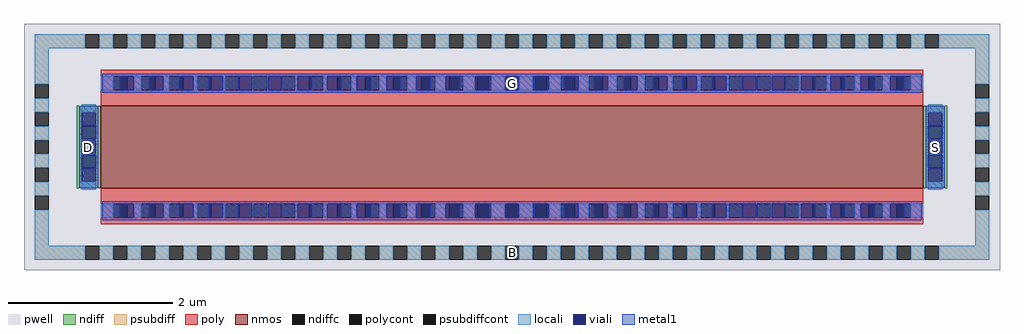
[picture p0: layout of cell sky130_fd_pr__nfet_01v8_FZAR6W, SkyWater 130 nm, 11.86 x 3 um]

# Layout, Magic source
magic
tech sky130A
magscale 1 2
<< pwell >>
rect -1186 -300 1186 300
<< nmos >>
rect -1000 -100 1000 100
<< ndiff >>
rect -1058 85 -1000 100
rect -1058 51 -1046 85
rect -1012 51 -1000 85
rect -1058 17 -1000 51
rect -1058 -17 -1046 17
rect -1012 -17 -1000 17
rect -1058 -51 -1000 -17
rect -1058 -85 -1046 -51
rect -1012 -85 -1000 -51
rect -1058 -100 -1000 -85
rect 1000 85 1058 100
rect 1000 51 1012 85
rect 1046 51 1058 85
rect 1000 17 1058 51
rect 1000 -17 1012 17
rect 1046 -17 1058 17
rect 1000 -51 1058 -17
rect 1000 -85 1012 -51
rect 1046 -85 1058 -51
rect 1000 -100 1058 -85
<< ndiffc >>
rect -1046 51 -1012 85
rect -1046 -17 -1012 17
rect -1046 -85 -1012 -51
rect 1012 51 1046 85
rect 1012 -17 1046 17
rect 1012 -85 1046 -51
<< psubdiff >>
rect -1160 240 -1037 274
rect -1003 240 -969 274
rect -935 240 -901 274
rect -867 240 -833 274
rect -799 240 -765 274
rect -731 240 -697 274
rect -663 240 -629 274
rect -595 240 -561 274
rect -527 240 -493 274
rect -459 240 -425 274
rect -391 240 -357 274
rect -323 240 -289 274
rect -255 240 -221 274
rect -187 240 -153 274
rect -119 240 -85 274
rect -51 240 -17 274
rect 17 240 51 274
rect 85 240 119 274
rect 153 240 187 274
rect 221 240 255 274
rect 289 240 323 274
rect 357 240 391 274
rect 425 240 459 274
rect 493 240 527 274
rect 561 240 595 274
rect 629 240 663 274
rect 697 240 731 274
rect 765 240 799 274
rect 833 240 867 274
rect 901 240 935 274
rect 969 240 1003 274
rect 1037 240 1160 274
rect -1160 153 -1126 240
rect -1160 85 -1126 119
rect 1126 153 1160 240
rect -1160 17 -1126 51
rect -1160 -51 -1126 -17
rect -1160 -119 -1126 -85
rect 1126 85 1160 119
rect 1126 17 1160 51
rect 1126 -51 1160 -17
rect -1160 -240 -1126 -153
rect 1126 -119 1160 -85
rect 1126 -240 1160 -153
rect -1160 -274 -1037 -240
rect -1003 -274 -969 -240
rect -935 -274 -901 -240
rect -867 -274 -833 -240
rect -799 -274 -765 -240
rect -731 -274 -697 -240
rect -663 -274 -629 -240
rect -595 -274 -561 -240
rect -527 -274 -493 -240
rect -459 -274 -425 -240
rect -391 -274 -357 -240
rect -323 -274 -289 -240
rect -255 -274 -221 -240
rect -187 -274 -153 -240
rect -119 -274 -85 -240
rect -51 -274 -17 -240
rect 17 -274 51 -240
rect 85 -274 119 -240
rect 153 -274 187 -240
rect 221 -274 255 -240
rect 289 -274 323 -240
rect 357 -274 391 -240
rect 425 -274 459 -240
rect 493 -274 527 -240
rect 561 -274 595 -240
rect 629 -274 663 -240
rect 697 -274 731 -240
rect 765 -274 799 -240
rect 833 -274 867 -240
rect 901 -274 935 -240
rect 969 -274 1003 -240
rect 1037 -274 1160 -240
<< psubdiffcont >>
rect -1037 240 -1003 274
rect -969 240 -935 274
rect -901 240 -867 274
rect -833 240 -799 274
rect -765 240 -731 274
rect -697 240 -663 274
rect -629 240 -595 274
rect -561 240 -527 274
rect -493 240 -459 274
rect -425 240 -391 274
rect -357 240 -323 274
rect -289 240 -255 274
rect -221 240 -187 274
rect -153 240 -119 274
rect -85 240 -51 274
rect -17 240 17 274
rect 51 240 85 274
rect 119 240 153 274
rect 187 240 221 274
rect 255 240 289 274
rect 323 240 357 274
rect 391 240 425 274
rect 459 240 493 274
rect 527 240 561 274
rect 595 240 629 274
rect 663 240 697 274
rect 731 240 765 274
rect 799 240 833 274
rect 867 240 901 274
rect 935 240 969 274
rect 1003 240 1037 274
rect -1160 119 -1126 153
rect 1126 119 1160 153
rect -1160 51 -1126 85
rect -1160 -17 -1126 17
rect -1160 -85 -1126 -51
rect 1126 51 1160 85
rect 1126 -17 1160 17
rect 1126 -85 1160 -51
rect -1160 -153 -1126 -119
rect 1126 -153 1160 -119
rect -1037 -274 -1003 -240
rect -969 -274 -935 -240
rect -901 -274 -867 -240
rect -833 -274 -799 -240
rect -765 -274 -731 -240
rect -697 -274 -663 -240
rect -629 -274 -595 -240
rect -561 -274 -527 -240
rect -493 -274 -459 -240
rect -425 -274 -391 -240
rect -357 -274 -323 -240
rect -289 -274 -255 -240
rect -221 -274 -187 -240
rect -153 -274 -119 -240
rect -85 -274 -51 -240
rect -17 -274 17 -240
rect 51 -274 85 -240
rect 119 -274 153 -240
rect 187 -274 221 -240
rect 255 -274 289 -240
rect 323 -274 357 -240
rect 391 -274 425 -240
rect 459 -274 493 -240
rect 527 -274 561 -240
rect 595 -274 629 -240
rect 663 -274 697 -240
rect 731 -274 765 -240
rect 799 -274 833 -240
rect 867 -274 901 -240
rect 935 -274 969 -240
rect 1003 -274 1037 -240
<< poly >>
rect -1000 172 1000 188
rect -1000 138 -969 172
rect -935 138 -901 172
rect -867 138 -833 172
rect -799 138 -765 172
rect -731 138 -697 172
rect -663 138 -629 172
rect -595 138 -561 172
rect -527 138 -493 172
rect -459 138 -425 172
rect -391 138 -357 172
rect -323 138 -289 172
rect -255 138 -221 172
rect -187 138 -153 172
rect -119 138 -85 172
rect -51 138 -17 172
rect 17 138 51 172
rect 85 138 119 172
rect 153 138 187 172
rect 221 138 255 172
rect 289 138 323 172
rect 357 138 391 172
rect 425 138 459 172
rect 493 138 527 172
rect 561 138 595 172
rect 629 138 663 172
rect 697 138 731 172
rect 765 138 799 172
rect 833 138 867 172
rect 901 138 935 172
rect 969 138 1000 172
rect -1000 100 1000 138
rect -1000 -138 1000 -100
rect -1000 -172 -969 -138
rect -935 -172 -901 -138
rect -867 -172 -833 -138
rect -799 -172 -765 -138
rect -731 -172 -697 -138
rect -663 -172 -629 -138
rect -595 -172 -561 -138
rect -527 -172 -493 -138
rect -459 -172 -425 -138
rect -391 -172 -357 -138
rect -323 -172 -289 -138
rect -255 -172 -221 -138
rect -187 -172 -153 -138
rect -119 -172 -85 -138
rect -51 -172 -17 -138
rect 17 -172 51 -138
rect 85 -172 119 -138
rect 153 -172 187 -138
rect 221 -172 255 -138
rect 289 -172 323 -138
rect 357 -172 391 -138
rect 425 -172 459 -138
rect 493 -172 527 -138
rect 561 -172 595 -138
rect 629 -172 663 -138
rect 697 -172 731 -138
rect 765 -172 799 -138
rect 833 -172 867 -138
rect 901 -172 935 -138
rect 969 -172 1000 -138
rect -1000 -188 1000 -172
<< polycont >>
rect -969 138 -935 172
rect -901 138 -867 172
rect -833 138 -799 172
rect -765 138 -731 172
rect -697 138 -663 172
rect -629 138 -595 172
rect -561 138 -527 172
rect -493 138 -459 172
rect -425 138 -391 172
rect -357 138 -323 172
rect -289 138 -255 172
rect -221 138 -187 172
rect -153 138 -119 172
rect -85 138 -51 172
rect -17 138 17 172
rect 51 138 85 172
rect 119 138 153 172
rect 187 138 221 172
rect 255 138 289 172
rect 323 138 357 172
rect 391 138 425 172
rect 459 138 493 172
rect 527 138 561 172
rect 595 138 629 172
rect 663 138 697 172
rect 731 138 765 172
rect 799 138 833 172
rect 867 138 901 172
rect 935 138 969 172
rect -969 -172 -935 -138
rect -901 -172 -867 -138
rect -833 -172 -799 -138
rect -765 -172 -731 -138
rect -697 -172 -663 -138
rect -629 -172 -595 -138
rect -561 -172 -527 -138
rect -493 -172 -459 -138
rect -425 -172 -391 -138
rect -357 -172 -323 -138
rect -289 -172 -255 -138
rect -221 -172 -187 -138
rect -153 -172 -119 -138
rect -85 -172 -51 -138
rect -17 -172 17 -138
rect 51 -172 85 -138
rect 119 -172 153 -138
rect 187 -172 221 -138
rect 255 -172 289 -138
rect 323 -172 357 -138
rect 391 -172 425 -138
rect 459 -172 493 -138
rect 527 -172 561 -138
rect 595 -172 629 -138
rect 663 -172 697 -138
rect 731 -172 765 -138
rect 799 -172 833 -138
rect 867 -172 901 -138
rect 935 -172 969 -138
<< locali >>
rect -1160 240 -1037 274
rect -1003 240 -969 274
rect -935 240 -901 274
rect -867 240 -833 274
rect -799 240 -765 274
rect -731 240 -697 274
rect -663 240 -629 274
rect -595 240 -561 274
rect -527 240 -493 274
rect -459 240 -425 274
rect -391 240 -357 274
rect -323 240 -289 274
rect -255 240 -221 274
rect -187 240 -153 274
rect -119 240 -85 274
rect -51 240 -17 274
rect 17 240 51 274
rect 85 240 119 274
rect 153 240 187 274
rect 221 240 255 274
rect 289 240 323 274
rect 357 240 391 274
rect 425 240 459 274
rect 493 240 527 274
rect 561 240 595 274
rect 629 240 663 274
rect 697 240 731 274
rect 765 240 799 274
rect 833 240 867 274
rect 901 240 935 274
rect 969 240 1003 274
rect 1037 240 1160 274
rect -1160 153 -1126 240
rect -1000 138 -969 172
rect -919 138 -901 172
rect -847 138 -833 172
rect -775 138 -765 172
rect -703 138 -697 172
rect -631 138 -629 172
rect -595 138 -593 172
rect -527 138 -521 172
rect -459 138 -449 172
rect -391 138 -377 172
rect -323 138 -305 172
rect -255 138 -233 172
rect -187 138 -161 172
rect -119 138 -89 172
rect -51 138 -17 172
rect 17 138 51 172
rect 89 138 119 172
rect 161 138 187 172
rect 233 138 255 172
rect 305 138 323 172
rect 377 138 391 172
rect 449 138 459 172
rect 521 138 527 172
rect 593 138 595 172
rect 629 138 631 172
rect 697 138 703 172
rect 765 138 775 172
rect 833 138 847 172
rect 901 138 919 172
rect 969 138 1000 172
rect 1126 153 1160 240
rect -1160 85 -1126 119
rect -1160 17 -1126 51
rect -1160 -51 -1126 -17
rect -1160 -119 -1126 -85
rect -1046 85 -1012 104
rect -1046 17 -1012 19
rect -1046 -19 -1012 -17
rect -1046 -104 -1012 -85
rect 1012 85 1046 104
rect 1012 17 1046 19
rect 1012 -19 1046 -17
rect 1012 -104 1046 -85
rect 1126 85 1160 119
rect 1126 17 1160 51
rect 1126 -51 1160 -17
rect 1126 -119 1160 -85
rect -1160 -240 -1126 -153
rect -1000 -172 -969 -138
rect -919 -172 -901 -138
rect -847 -172 -833 -138
rect -775 -172 -765 -138
rect -703 -172 -697 -138
rect -631 -172 -629 -138
rect -595 -172 -593 -138
rect -527 -172 -521 -138
rect -459 -172 -449 -138
rect -391 -172 -377 -138
rect -323 -172 -305 -138
rect -255 -172 -233 -138
rect -187 -172 -161 -138
rect -119 -172 -89 -138
rect -51 -172 -17 -138
rect 17 -172 51 -138
rect 89 -172 119 -138
rect 161 -172 187 -138
rect 233 -172 255 -138
rect 305 -172 323 -138
rect 377 -172 391 -138
rect 449 -172 459 -138
rect 521 -172 527 -138
rect 593 -172 595 -138
rect 629 -172 631 -138
rect 697 -172 703 -138
rect 765 -172 775 -138
rect 833 -172 847 -138
rect 901 -172 919 -138
rect 969 -172 1000 -138
rect 1126 -240 1160 -153
rect -1160 -274 -1037 -240
rect -1003 -274 -969 -240
rect -935 -274 -901 -240
rect -867 -274 -833 -240
rect -799 -274 -765 -240
rect -731 -274 -697 -240
rect -663 -274 -629 -240
rect -595 -274 -561 -240
rect -527 -274 -493 -240
rect -459 -274 -425 -240
rect -391 -274 -357 -240
rect -323 -274 -289 -240
rect -255 -274 -221 -240
rect -187 -274 -153 -240
rect -119 -274 -85 -240
rect -51 -274 -17 -240
rect 17 -274 51 -240
rect 85 -274 119 -240
rect 153 -274 187 -240
rect 221 -274 255 -240
rect 289 -274 323 -240
rect 357 -274 391 -240
rect 425 -274 459 -240
rect 493 -274 527 -240
rect 561 -274 595 -240
rect 629 -274 663 -240
rect 697 -274 731 -240
rect 765 -274 799 -240
rect 833 -274 867 -240
rect 901 -274 935 -240
rect 969 -274 1003 -240
rect 1037 -274 1160 -240
<< viali >>
rect -953 138 -935 172
rect -935 138 -919 172
rect -881 138 -867 172
rect -867 138 -847 172
rect -809 138 -799 172
rect -799 138 -775 172
rect -737 138 -731 172
rect -731 138 -703 172
rect -665 138 -663 172
rect -663 138 -631 172
rect -593 138 -561 172
rect -561 138 -559 172
rect -521 138 -493 172
rect -493 138 -487 172
rect -449 138 -425 172
rect -425 138 -415 172
rect -377 138 -357 172
rect -357 138 -343 172
rect -305 138 -289 172
rect -289 138 -271 172
rect -233 138 -221 172
rect -221 138 -199 172
rect -161 138 -153 172
rect -153 138 -127 172
rect -89 138 -85 172
rect -85 138 -55 172
rect -17 138 17 172
rect 55 138 85 172
rect 85 138 89 172
rect 127 138 153 172
rect 153 138 161 172
rect 199 138 221 172
rect 221 138 233 172
rect 271 138 289 172
rect 289 138 305 172
rect 343 138 357 172
rect 357 138 377 172
rect 415 138 425 172
rect 425 138 449 172
rect 487 138 493 172
rect 493 138 521 172
rect 559 138 561 172
rect 561 138 593 172
rect 631 138 663 172
rect 663 138 665 172
rect 703 138 731 172
rect 731 138 737 172
rect 775 138 799 172
rect 799 138 809 172
rect 847 138 867 172
rect 867 138 881 172
rect 919 138 935 172
rect 935 138 953 172
rect -1046 51 -1012 53
rect -1046 19 -1012 51
rect -1046 -51 -1012 -19
rect -1046 -53 -1012 -51
rect 1012 51 1046 53
rect 1012 19 1046 51
rect 1012 -51 1046 -19
rect 1012 -53 1046 -51
rect -953 -172 -935 -138
rect -935 -172 -919 -138
rect -881 -172 -867 -138
rect -867 -172 -847 -138
rect -809 -172 -799 -138
rect -799 -172 -775 -138
rect -737 -172 -731 -138
rect -731 -172 -703 -138
rect -665 -172 -663 -138
rect -663 -172 -631 -138
rect -593 -172 -561 -138
rect -561 -172 -559 -138
rect -521 -172 -493 -138
rect -493 -172 -487 -138
rect -449 -172 -425 -138
rect -425 -172 -415 -138
rect -377 -172 -357 -138
rect -357 -172 -343 -138
rect -305 -172 -289 -138
rect -289 -172 -271 -138
rect -233 -172 -221 -138
rect -221 -172 -199 -138
rect -161 -172 -153 -138
rect -153 -172 -127 -138
rect -89 -172 -85 -138
rect -85 -172 -55 -138
rect -17 -172 17 -138
rect 55 -172 85 -138
rect 85 -172 89 -138
rect 127 -172 153 -138
rect 153 -172 161 -138
rect 199 -172 221 -138
rect 221 -172 233 -138
rect 271 -172 289 -138
rect 289 -172 305 -138
rect 343 -172 357 -138
rect 357 -172 377 -138
rect 415 -172 425 -138
rect 425 -172 449 -138
rect 487 -172 493 -138
rect 493 -172 521 -138
rect 559 -172 561 -138
rect 561 -172 593 -138
rect 631 -172 663 -138
rect 663 -172 665 -138
rect 703 -172 731 -138
rect 731 -172 737 -138
rect 775 -172 799 -138
rect 799 -172 809 -138
rect 847 -172 867 -138
rect 867 -172 881 -138
rect 919 -172 935 -138
rect 935 -172 953 -138
<< metal1 >>
rect -996 172 996 178
rect -996 138 -953 172
rect -919 138 -881 172
rect -847 138 -809 172
rect -775 138 -737 172
rect -703 138 -665 172
rect -631 138 -593 172
rect -559 138 -521 172
rect -487 138 -449 172
rect -415 138 -377 172
rect -343 138 -305 172
rect -271 138 -233 172
rect -199 138 -161 172
rect -127 138 -89 172
rect -55 138 -17 172
rect 17 138 55 172
rect 89 138 127 172
rect 161 138 199 172
rect 233 138 271 172
rect 305 138 343 172
rect 377 138 415 172
rect 449 138 487 172
rect 521 138 559 172
rect 593 138 631 172
rect 665 138 703 172
rect 737 138 775 172
rect 809 138 847 172
rect 881 138 919 172
rect 953 138 996 172
rect -996 132 996 138
rect -1052 53 -1006 100
rect -1052 19 -1046 53
rect -1012 19 -1006 53
rect -1052 -19 -1006 19
rect -1052 -53 -1046 -19
rect -1012 -53 -1006 -19
rect -1052 -100 -1006 -53
rect 1006 53 1052 100
rect 1006 19 1012 53
rect 1046 19 1052 53
rect 1006 -19 1052 19
rect 1006 -53 1012 -19
rect 1046 -53 1052 -19
rect 1006 -100 1052 -53
rect -996 -138 996 -132
rect -996 -172 -953 -138
rect -919 -172 -881 -138
rect -847 -172 -809 -138
rect -775 -172 -737 -138
rect -703 -172 -665 -138
rect -631 -172 -593 -138
rect -559 -172 -521 -138
rect -487 -172 -449 -138
rect -415 -172 -377 -138
rect -343 -172 -305 -138
rect -271 -172 -233 -138
rect -199 -172 -161 -138
rect -127 -172 -89 -138
rect -55 -172 -17 -138
rect 17 -172 55 -138
rect 89 -172 127 -138
rect 161 -172 199 -138
rect 233 -172 271 -138
rect 305 -172 343 -138
rect 377 -172 415 -138
rect 449 -172 487 -138
rect 521 -172 559 -138
rect 593 -172 631 -138
rect 665 -172 703 -138
rect 737 -172 775 -138
rect 809 -172 847 -138
rect 881 -172 919 -138
rect 953 -172 996 -138
rect -996 -178 996 -172
<< labels >>
rlabel locali s 0 -257 0 -257 4 B
rlabel locali s -1029 0 -1029 0 4 D
rlabel locali s 1029 0 1029 0 4 S
rlabel locali s 0 155 0 155 4 G
<< properties >>
string FIXED_BBOX -1143 -257 1143 257
<< end >>
